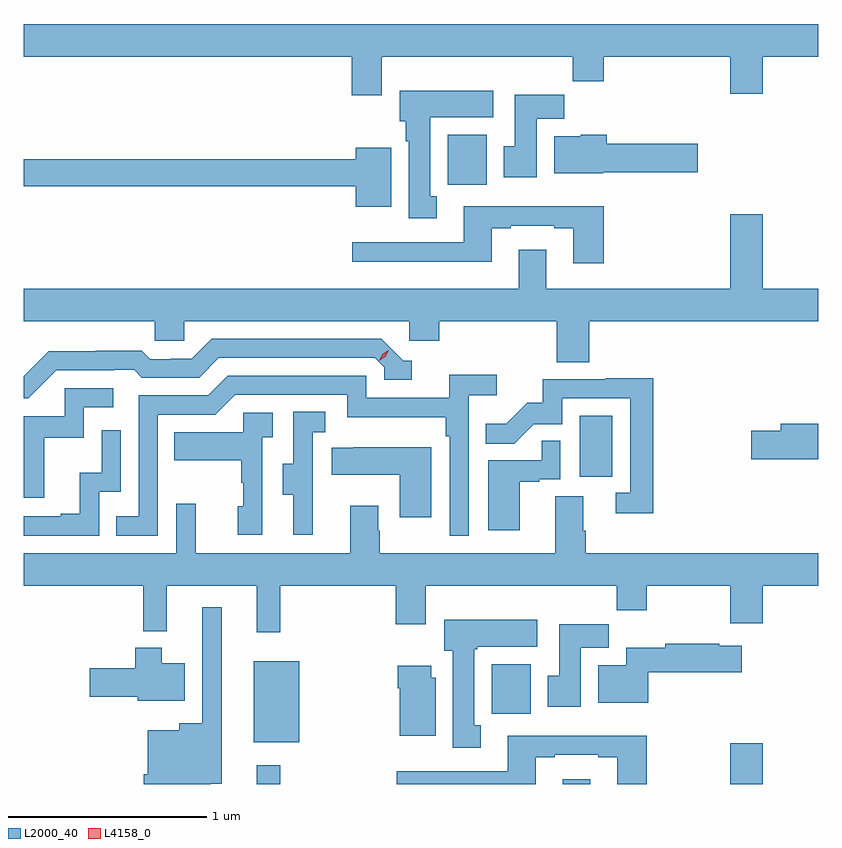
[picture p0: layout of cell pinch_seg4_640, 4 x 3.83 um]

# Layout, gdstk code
import gdstk
lib = gdstk.Library(unit=1e-6, precision=1e-09)
def R(c, l, rs):  # rectangles x0, y0, x1, y1
    for r in rs: c.add(gdstk.rectangle(r[:2], r[2:], *l))
def P(c, l, *ps):  # polygons
    for p in ps: c.add(gdstk.Polygon(p, *l))
L2000_40 = (2000, 40)
L4158_0 = (4158, 0)

pinch_seg4_640 = lib.new_cell('pinch_seg4_640')
R(pinch_seg4_640, L2000_40, [(1049.737,754.53,1049.855,754.624), (1051.277,754.53,1051.417,754.555), (1052.12,754.53,1052.284,754.735), (1049.723,754.739,1049.95,755.149), (1050.921,754.884,1051.117,755.134), (1051.364,756.078,1051.528,756.385), (1050.699,757.548,1050.895,757.798)])
P(pinch_seg4_640, L2000_40, [(1050.367,758.192),(1051.327,758.192),(1051.327,758.068),(1051.484,758.068),(1051.484,758.192),(1052.12,758.192),(1052.12,758.004),(1052.284,758.004),(1052.284,758.192),(1052.564,758.192),(1052.564,758.356),(1048.564,758.356),(1048.564,758.192),(1050.215,758.192),(1050.215,757.998),(1050.367,757.998)],
  [(1050.643,757.489),(1050.61,757.489),(1050.61,757.886),(1050.928,757.886),(1050.928,758.02),(1050.458,758.02),(1050.458,757.866),(1050.488,757.866),(1050.488,757.766),(1050.503,757.766),(1050.503,757.377),(1050.643,757.377)],
  [(1051.147,757.88),(1051.286,757.88),(1051.286,757.999),(1051.037,757.999),(1051.037,757.74),(1050.98,757.74),(1050.98,757.584),(1051.147,757.584)],
  [(1051.482,757.61),(1051.957,757.61),(1051.957,757.752),(1051.499,757.752),(1051.499,757.798),(1051.368,757.798),(1051.368,757.792),(1051.235,757.792),(1051.235,757.604),(1051.482,757.604)],
  [(1050.415,757.732),(1050.236,757.732),(1050.236,757.676),(1048.564,757.676),(1048.564,757.54),(1050.236,757.54),(1050.236,757.436),(1050.415,757.436)],
  [(1051.484,757.438),(1050.779,757.438),(1050.779,757.257),(1050.219,757.257),(1050.219,757.16),(1050.919,757.16),(1050.919,757.329),(1051.015,757.329),(1051.015,757.341),(1051.235,757.341),(1051.235,757.329),(1051.331,757.329),(1051.331,757.152),(1051.484,757.152)],
  [(1051.412,756.86),(1052.564,756.86),(1052.564,757.024),(1052.284,757.024),(1052.284,757.399),(1052.12,757.399),(1052.12,757.024),(1051.195,757.024),(1051.195,757.219),(1051.055,757.219),(1051.055,757.024),(1048.564,757.024),(1048.564,756.86),(1049.223,756.86),(1049.223,756.762),(1049.373,756.762),(1049.373,756.86),(1050.504,756.86),(1050.504,756.762),(1050.656,756.762),(1050.656,756.86),(1051.247,756.86),(1051.247,756.652),(1051.412,756.652)],
  [(1048.728,756.612),(1049.021,756.612),(1049.021,756.615),(1049.12,756.615),(1049.159,756.576),(1049.448,756.576),(1049.547,756.675),(1050.33,756.675),(1050.378,756.627),(1050.378,756.564),(1050.517,756.564),(1050.517,756.66),(1050.474,756.66),(1050.363,756.771),(1049.51,756.771),(1049.411,756.672),(1049.304,756.672),(1049.304,756.669),(1049.201,756.669),(1049.159,756.712),(1048.926,756.712),(1048.926,756.709),(1048.69,756.709),(1048.564,756.583),(1048.564,756.471),(1048.587,756.471)],
  [(1049.238,756.39),(1049.529,756.39),(1049.628,756.489),(1050.192,756.489),(1050.192,756.377),(1050.688,756.377),(1050.688,756.281),(1050.708,756.281),(1050.708,755.781),(1050.804,755.781),(1050.804,756.488),(1050.946,756.488),(1050.946,756.59),(1050.707,756.59),(1050.707,756.474),(1050.288,756.474),(1050.288,756.585),(1049.591,756.585),(1049.492,756.486),(1049.142,756.486),(1049.142,755.877),(1049.029,755.877),(1049.029,755.781),(1049.238,755.781)],
  [(1051.733,756.572),(1051.495,756.572),(1051.495,756.567),(1051.177,756.567),(1051.177,756.45),(1051.1,756.45),(1050.993,756.343),(1050.889,756.343),(1050.889,756.244),(1051.033,756.244),(1051.131,756.342),(1051.275,756.342),(1051.275,756.471),(1051.617,756.471),(1051.617,755.997),(1051.545,755.997),(1051.545,755.892),(1051.733,755.892)],
  [(1048.667,756.273),(1048.866,756.273),(1048.866,756.426),(1049.014,756.426),(1049.014,756.522),(1048.77,756.522),(1048.77,756.381),(1048.565,756.381),(1048.565,756.195),(1048.564,756.195),(1048.564,755.97),(1048.667,755.97)],
  [(1050.02,755.997),(1050.018,755.997),(1050.018,756.301),(1050.082,756.301),(1050.082,756.404),(1049.922,756.404),(1049.922,756.141),(1049.867,756.141),(1049.867,755.986),(1049.921,755.986),(1049.921,755.784),(1050.02,755.784)],
  [(1049.766,756.275),(1049.818,756.275),(1049.818,756.399),(1049.67,756.399),(1049.67,756.301),(1049.323,756.301),(1049.323,756.161),(1049.658,756.161),(1049.658,756.047),(1049.668,756.047),(1049.668,755.928),(1049.642,755.928),(1049.642,755.784),(1049.766,755.784)],
  [(1052.564,756.344),(1052.375,756.344),(1052.375,756.308),(1052.226,756.308),(1052.226,756.166),(1052.564,756.166)],
  [(1048.944,756),(1049.052,756),(1049.052,756.31),(1048.956,756.31),(1048.956,756.098),(1048.847,756.098),(1048.847,755.89),(1048.751,755.89),(1048.751,755.877),(1048.564,755.877),(1048.564,755.781),(1048.944,755.781)],
  [(1051.06,756.051),(1051.16,756.051),(1051.16,756.063),(1051.266,756.063),(1051.266,756.257),(1051.171,756.257),(1051.171,756.159),(1050.902,756.159),(1050.902,755.808),(1051.06,755.808)],
  [(1050.616,756.226),(1050.223,756.226),(1050.223,756.223),(1050.115,756.223),(1050.115,756.086),(1050.458,756.086),(1050.458,755.874),(1050.616,755.874)],
  [(1049.855,755.528),(1050.437,755.528),(1050.437,755.334),(1050.589,755.334),(1050.589,755.528),(1051.549,755.528),(1051.549,755.404),(1051.701,755.404),(1051.701,755.528),(1052.12,755.528),(1052.12,755.34),(1052.284,755.34),(1052.284,755.528),(1052.564,755.528),(1052.564,755.692),(1051.394,755.692),(1051.394,755.804),(1051.381,755.804),(1051.381,755.978),(1051.241,755.978),(1051.241,755.692),(1050.357,755.692),(1050.357,755.804),(1050.349,755.804),(1050.349,755.932),(1050.209,755.932),(1050.209,755.692),(1049.429,755.692),(1049.429,755.941),(1049.331,755.941),(1049.331,755.692),(1048.564,755.692),(1048.564,755.528),(1049.167,755.528),(1049.167,755.3),(1049.285,755.3),(1049.285,755.528),(1049.738,755.528),(1049.738,755.295),(1049.855,755.295)],
  [(1049.506,754.532),(1049.56,754.532),(1049.56,755.419),(1049.463,755.419),(1049.463,754.837),(1049.348,754.837),(1049.348,754.801),(1049.189,754.801),(1049.189,754.579),(1049.168,754.579),(1049.168,754.53),(1049.506,754.53)],
  [(1050.865,754.825),(1050.832,754.825),(1050.832,755.209),(1050.846,755.209),(1050.846,755.222),(1051.15,755.222),(1051.15,755.356),(1050.68,755.356),(1050.68,755.202),(1050.725,755.202),(1050.725,754.713),(1050.865,754.713)],
  [(1051.369,755.216),(1051.508,755.216),(1051.508,755.335),(1051.259,755.335),(1051.259,755.076),(1051.202,755.076),(1051.202,754.92),(1051.369,754.92)],
  [(1051.708,755.093),(1052.179,755.093),(1052.179,755.227),(1052.066,755.227),(1052.066,755.235),(1051.794,755.235),(1051.794,755.215),(1051.598,755.215),(1051.598,755.128),(1051.457,755.128),(1051.457,754.94),(1051.708,754.94)],
  [(1049.374,755.137),(1049.26,755.137),(1049.26,755.215),(1049.126,755.215),(1049.126,755.112),(1048.896,755.112),(1048.896,754.97),(1049.138,754.97),(1049.138,754.949),(1049.374,754.949)],
  [(1050.637,755.064),(1050.616,755.064),(1050.616,755.125),(1050.446,755.125),(1050.446,755.012),(1050.458,755.012),(1050.458,754.772),(1050.637,754.772)],
  [(1051.141,754.665),(1051.237,754.665),(1051.237,754.677),(1051.457,754.677),(1051.457,754.665),(1051.553,754.665),(1051.553,754.53),(1051.701,754.53),(1051.701,754.774),(1051.001,754.774),(1051.001,754.593),(1050.441,754.593),(1050.441,754.53),(1051.141,754.53)])
P(pinch_seg4_640, L4158_0, [(1050.355,756.66),(1050.355,756.66),(1050.37,756.693),(1050.4,756.714),(1050.401,756.714),(1050.401,756.713),(1050.385,756.68),(1050.355,756.66)])

lib.write_gds('pinch_seg4_640.gds')
